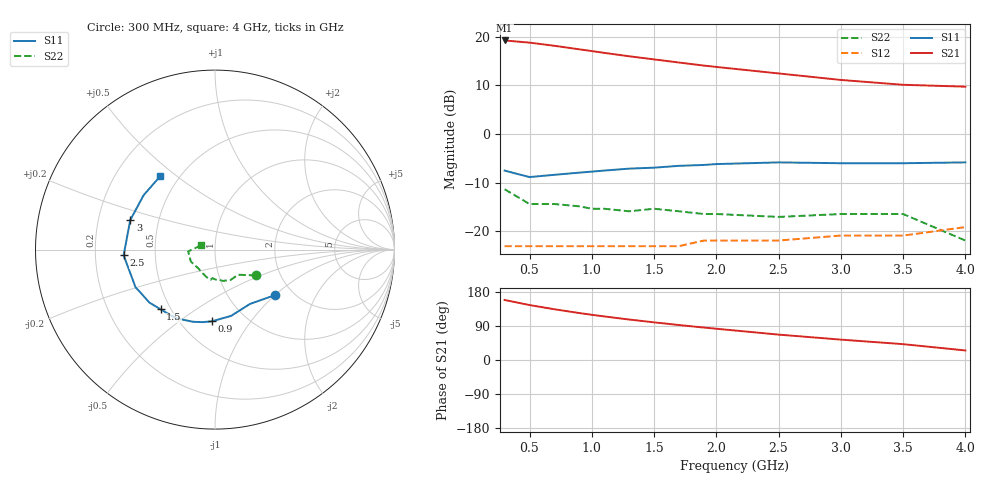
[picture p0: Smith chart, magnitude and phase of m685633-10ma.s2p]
!MGA-68563
!s-parameters at Vds=3V, Ids=10mA. Last updated 23/09/06 SW.
# GHZ S MA R 50
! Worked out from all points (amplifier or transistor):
!   15 points, 300 MHz to 4 GHz, reference 50 ohm
!   highest |S21| = 19.3 dB at 300 MHz (marker M1)
!   |S21| within 3 dB of that: start of sweep to 1.227 GHz
!   unconditionally stable (mu >= 1): 424.5 MHz to end of sweep
!   at 700 MHz: K = 1.00, MAG = 20.3 dB, |S12| = -23.1 dB
!   at 1.5 GHz: K = 1.08, MAG = 17.5 dB, |S12| = -23.1 dB
!   at 4 GHz: K = 1.26, MAG = 11.4 dB, |S12| = -19.2 dB
!   lowest NFmin = 0.74 dB at 1 GHz
!   S11 on the Smith chart (normalised r, x): 300 MHz: 1.63, -1.00; 900 MHz: 0.70, -0.67; 1.5 GHz: 0.44, -0.37; 2.5 GHz: 0.32, -0.03; 3 GHz: 0.34, +0.15; 4 GHz: 0.40, +0.44
0.3  0.42 -37.1  9.18 158.4  0.07 5.4  0.27 -32.2
0.5  0.36 -57.2  8.72 145.0  0.07 3.8  0.19 -47.5
0.7  0.38 -76.3  8.09 133.9  0.07 3.9  0.19 -63.1
0.9  0.4 -92.5  7.44 123.9  0.07 4.1  0.18 -75.8
1  0.41 -99.7  7.14 119.3  0.07 4.1  0.17 -81.8
1.1  0.42 -106.7  6.84 115.0  0.07 4.2  0.17 -86.3
1.3  0.44 -119.5  6.31 106.8  0.07 4.4  0.16 -95.1
1.5  0.45 -132.3  5.86 99.4  0.07 4.5  0.17 -98.3
1.7  0.47 -141.1  5.44 92.3  0.07 4.6  0.16 -107.7
1.9  0.48 -150.5  5.06 85.6  0.08 4.6  0.15 -115.3
2  0.49 -154.6  4.9 82.5  0.08 4.6  0.15 -116.2
2.5  0.51 -176.4  4.2 67.0  0.08 3.1  0.14 -131.9
3  0.5 160.8  3.6 53.8  0.09 2.0  0.15 -153.1
3.5  0.5 142.7  3.21 41.8  0.09 0.3  0.15 -176.1
4  0.51 126.9  3.07 25.2  0.11 -8.6  0.08 162.4
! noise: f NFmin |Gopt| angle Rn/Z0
0.5  0.83  0.12  108.8  0.11
1  0.74  0.05  109.8  0.08
1.5  0.76  0.16  151.4  0.07
2  0.88  0.21  147.9  0.07
2.5  1.05  0.24  161.5  0.06
3  1.24  0.26  -173.1  0.09
